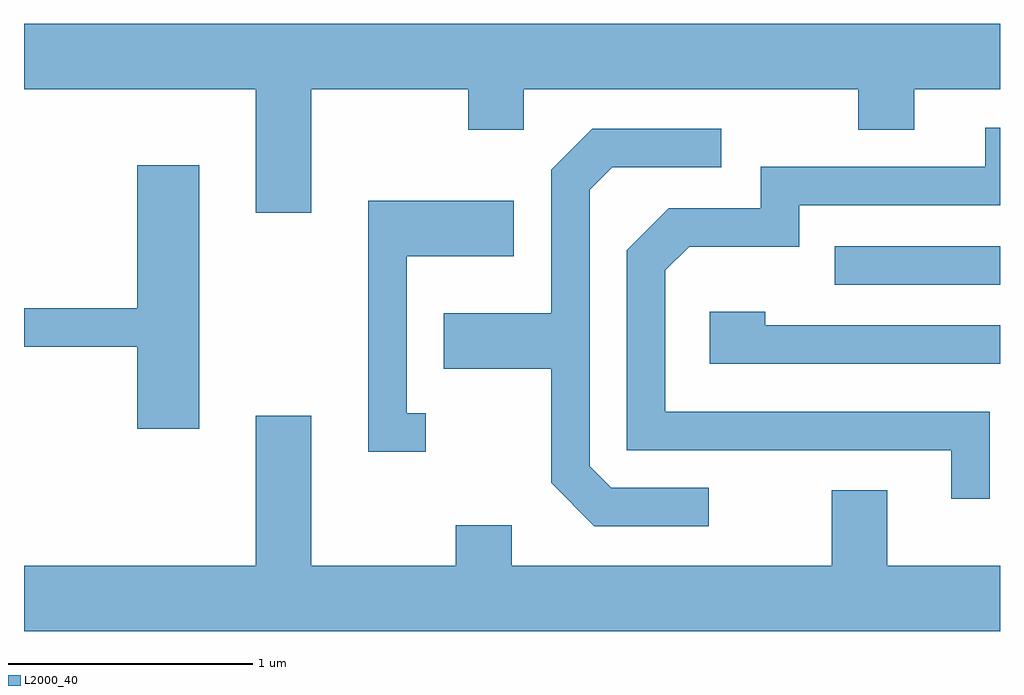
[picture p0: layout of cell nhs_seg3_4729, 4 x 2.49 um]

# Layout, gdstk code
import gdstk
lib = gdstk.Library(unit=1e-6, precision=1e-09)
def R(c, l, rs):  # rectangles x0, y0, x1, y1
    for r in rs: c.add(gdstk.rectangle(r[:2], r[2:], *l))
def P(c, l, *ps):  # polygons
    for p in ps: c.add(gdstk.Polygon(p, *l))
L2000_40 = (2000, 40)

nhs_seg3_4729 = lib.new_cell('nhs_seg3_4729')
R(nhs_seg3_4729, L2000_40, [(326.933,1191.816,327.611,1191.974)])
P(nhs_seg3_4729, L2000_40, [(324.789,1192.616),(325.431,1192.616),(325.431,1192.451),(325.659,1192.451),(325.659,1192.616),(327.031,1192.616),(327.031,1192.451),(327.259,1192.451),(327.259,1192.616),(327.611,1192.616),(327.611,1192.884),(323.611,1192.884),(323.611,1192.616),(324.561,1192.616),(324.561,1192.111),(324.789,1192.111)],
  [(327.569,1191.294),(326.239,1191.294),(326.239,1191.874),(326.337,1191.971),(326.789,1191.971),(326.789,1192.141),(327.611,1192.141),(327.611,1192.459),(327.551,1192.459),(327.551,1192.299),(326.631,1192.299),(326.631,1192.129),(326.254,1192.129),(326.081,1191.957),(326.081,1191.136),(327.411,1191.136),(327.411,1190.938),(327.569,1190.938)],
  [(326.418,1190.984),(326.017,1190.984),(325.929,1191.072),(325.929,1192.204),(326.022,1192.296),(326.468,1192.296),(326.468,1192.454),(325.939,1192.454),(325.771,1192.287),(325.771,1191.699),(325.331,1191.699),(325.331,1191.471),(325.771,1191.471),(325.771,1191.004),(325.949,1190.826),(326.418,1190.826)],
  [(324.329,1192.304),(324.076,1192.304),(324.076,1191.719),(323.611,1191.719),(323.611,1191.561),(324.076,1191.561),(324.076,1191.226),(324.329,1191.226)],
  [(325.258,1191.289),(325.179,1191.289),(325.179,1191.931),(325.619,1191.931),(325.619,1192.159),(325.021,1192.159),(325.021,1191.131),(325.258,1191.131)],
  [(327.611,1191.649),(326.649,1191.649),(326.649,1191.704),(326.421,1191.704),(326.421,1191.491),(327.611,1191.491)],
  [(327.611,1190.664),(327.149,1190.664),(327.149,1190.974),(326.921,1190.974),(326.921,1190.664),(325.609,1190.664),(325.609,1190.829),(325.381,1190.829),(325.381,1190.664),(324.789,1190.664),(324.789,1191.279),(324.561,1191.279),(324.561,1190.664),(323.611,1190.664),(323.611,1190.396),(327.611,1190.396)])

lib.write_gds('nhs_seg3_4729.gds')
